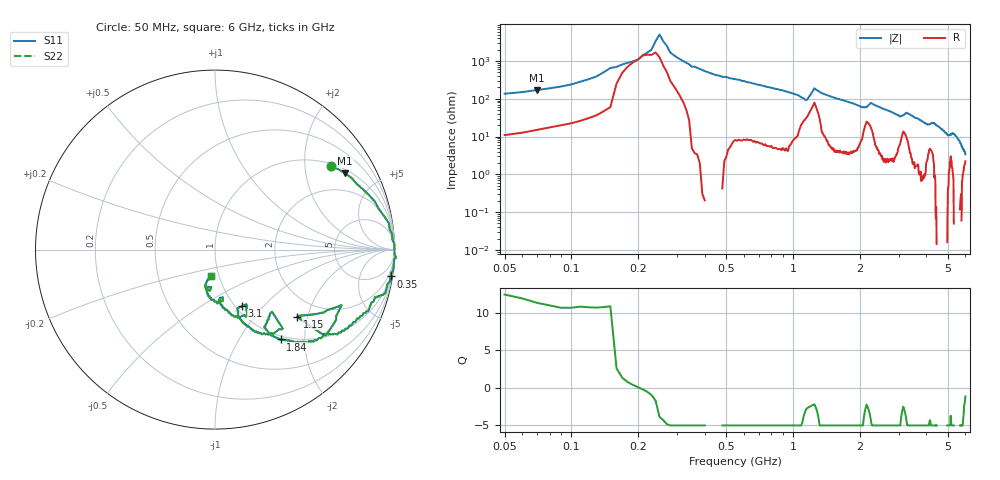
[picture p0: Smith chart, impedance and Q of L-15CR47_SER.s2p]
# MHZ S MA R 50
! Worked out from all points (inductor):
!   596 points, 50 MHz to 6 GHz, reference 50 ohm
!   read as one part in series: L = 318 nH near 70 MHz
!   highest Q = 11.3 at 70 MHz (marker M1), where L = 385 nH
!   self-resonance near 202.3 MHz
!   S11 on the Smith chart (normalised r, x): 50 MHz: 1.05, +2.73; 350 MHz: 1, -13; 1.15 GHz: 1.50, -1.72; 1.84 GHz: 0.94, -1.53; 3.1 GHz: 1.07, -0.77; 6 GHz: 0.92, -0.28
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50  0.8 35.8  0.58 -49.0  0.58 -49.0  0.8 35.8
70  0.84 30.4  0.49 -54.4  0.49 -54.4  0.84 30.4
130  0.94 14.0  0.24 -70.7  0.24 -70.7  0.94 14.0
250  1.01 -2.5  0.02 73.0  0.02 73.0  1.01 -2.5
300  1 -5.6  0.08 77.0  0.08 77.0  1 -5.6
350  0.99 -8.7  0.14 80.9  0.14 80.9  0.99 -8.7
470  0.96 -15.3  0.24 74.8  0.24 74.8  0.96 -15.3
1050  0.76 -38.2  0.6 47.0  0.6 47.0  0.76 -38.2
1150  0.59 -39.3  0.63 31.6  0.63 31.6  0.59 -39.3
1270  0.77 -26.2  0.43 43.3  0.43 43.3  0.77 -26.2
1440  0.76 -40.9  0.61 46.0  0.61 46.0  0.76 -40.9
1840  0.62 -53.8  0.76 33.5  0.76 33.5  0.62 -53.8
2040  0.52 -57.4  0.79 25.8  0.79 25.8  0.52 -57.4
2150  0.47 -47.5  0.72 20.2  0.72 20.2  0.47 -47.5
2250  0.58 -49.4  0.7 28.8  0.7 28.8  0.58 -49.4
3030  0.36 -69.4  0.87 13.7  0.87 13.7  0.36 -69.4
3100  0.35 -64.6  0.84 12.9  0.84 12.9  0.35 -64.6
3360  0.4 -70.7  0.86 15.7  0.86 15.7  0.4 -70.7
4020  0.28 -84.6  0.91 6.7  0.91 6.7  0.28 -84.6
5010  0.21 -100.6  0.93 0.2  0.93 0.2  0.21 -100.6
5360  0.23 -102.0  0.93 -0.1  0.93 -0.1  0.23 -102.0
6000  0.15 -98.0  0.94 -6.1  0.94 -6.1  0.15 -98.0
